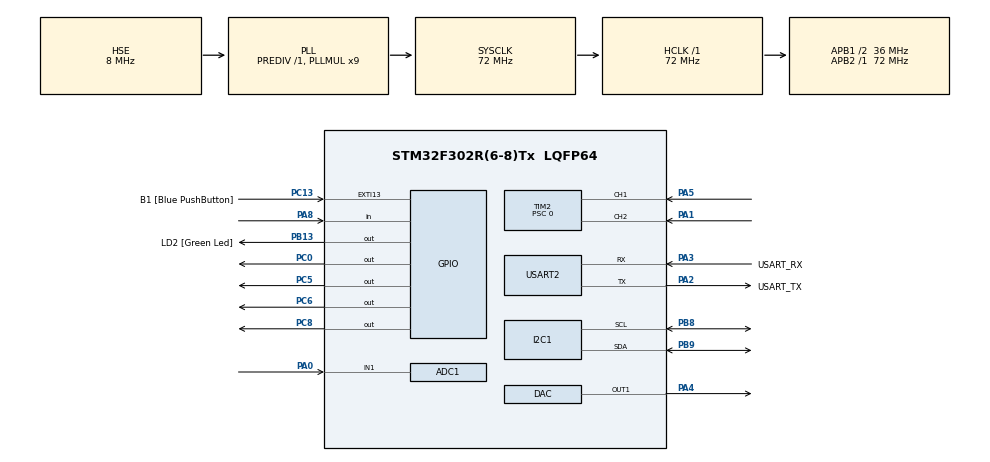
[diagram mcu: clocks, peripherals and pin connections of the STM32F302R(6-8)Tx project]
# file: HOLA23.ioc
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ADC1.Channel-0\#ChannelRegularConversion=ADC_CHANNEL_1
ADC1.ContinuousConvMode=ENABLE
ADC1.DMAContinuousRequests=ENABLE
ADC1.NbrOfConversionFlag=1
ADC1.Offset-0\#ChannelRegularConversion=0
ADC1.OffsetNumber-0\#ChannelRegularConversion=ADC_OFFSET_NONE
ADC1.Rank-0\#ChannelRegularConversion=1
ADC1.SamplingTime-0\#ChannelRegularConversion=ADC_SAMPLETIME_601CYCLES_5
ADC1.SamplingTimeOPAMP-0\#ChannelRegularConversion=ADC_SAMPLETIME_61CYCLES_5
ADC1.SubFamily=STM32F302x8
ADC1.master=1
DAC.DAC_Trigger=DAC_TRIGGER_T2_TRGO
Dma.ADC1.1.Direction=DMA_PERIPH_TO_MEMORY
Dma.ADC1.1.Instance=DMA1_Channel1
Dma.ADC1.1.MemDataAlignment=DMA_MDATAALIGN_WORD
Dma.ADC1.1.MemInc=DMA_MINC_ENABLE
Dma.ADC1.1.Mode=DMA_CIRCULAR
Dma.ADC1.1.PeriphDataAlignment=DMA_PDATAALIGN_WORD
Dma.ADC1.1.PeriphInc=DMA_PINC_DISABLE
Dma.ADC1.1.Priority=DMA_PRIORITY_LOW
Dma.DAC_CH1.0.Direction=DMA_MEMORY_TO_PERIPH
Dma.DAC_CH1.0.Instance=DMA1_Channel3
Dma.DAC_CH1.0.MemDataAlignment=DMA_MDATAALIGN_WORD
Dma.DAC_CH1.0.MemInc=DMA_MINC_ENABLE
Dma.DAC_CH1.0.Mode=DMA_CIRCULAR
Dma.DAC_CH1.0.PeriphDataAlignment=DMA_PDATAALIGN_WORD
Dma.DAC_CH1.0.PeriphInc=DMA_PINC_DISABLE
Dma.DAC_CH1.0.Priority=DMA_PRIORITY_LOW
Dma.Request0=DAC_CH1
Dma.Request1=ADC1
Mcu.Family=STM32F3
Mcu.Name=STM32F302R(6-8)Tx
Mcu.Package=LQFP64
NVIC.DMA1_Channel1_IRQn=true\:0\:0\:false\:false\:true\:false\:true\:true
NVIC.DMA1_Channel3_IRQn=true\:0\:0\:false\:false\:true\:false\:true\:true
NVIC.PriorityGroup=NVIC_PRIORITYGROUP_0
NVIC.TIM2_IRQn=true\:0\:0\:false\:false\:true\:true\:true\:true
PA0.Mode=IN1-Single-Ended
PA0.Signal=ADC1_IN1
PA1.Signal=S_TIM2_CH2
PA13.GPIO_Label=TMS
PA13.Mode=Serial_Wire
PA13.Signal=SYS_JTMS-SWDIO
PA14.GPIO_Label=TCK
PA14.Mode=Serial_Wire
PA14.Signal=SYS_JTCK-SWCLK
PA2.GPIO_Label=USART_TX
PA2.GPIO_Mode=GPIO_MODE_AF_PP
PA2.GPIO_PuPd=GPIO_NOPULL
PA2.GPIO_Speed=GPIO_SPEED_FREQ_LOW
PA2.Mode=Asynchronous
PA2.Signal=USART2_TX
PA3.GPIO_Label=USART_RX
PA3.GPIO_Mode=GPIO_MODE_AF_PP
PA3.GPIO_PuPd=GPIO_NOPULL
PA3.GPIO_Speed=GPIO_SPEED_FREQ_LOW
PA3.Mode=Asynchronous
PA3.Signal=USART2_RX
PA4.Signal=COMP_DAC1_group
PA5.Signal=S_TIM2_CH1_ETR
PA8.GPIO_PuPd=GPIO_PULLUP
PA8.Signal=GPIO_Input
PB13.GPIO_Label=LD2 [Green Led]
PB13.Signal=GPIO_Output
PB3.GPIO_Label=SWO
PB3.Mode=Trace_Asynchronous_SW
PB3.Signal=SYS_JTDO-TRACESWO
PB8.Mode=I2C
PB8.Signal=I2C1_SCL
PB9.Mode=I2C
PB9.Signal=I2C1_SDA
PC0.Signal=GPIO_Output
PC13.GPIO_Label=B1 [Blue PushButton]
PC13.GPIO_ModeDefaultEXTI=GPIO_MODE_IT_FALLING
PC13.Signal=GPXTI13
PC14\ -\ OSC32_IN.Signal=RCC_OSC32_IN
PC15\ -\ OSC32_OUT.Signal=RCC_OSC32_OUT
PC5.Signal=GPIO_Output
PC6.Signal=GPIO_Output
PC8.Signal=GPIO_Output
PF0-OSC_IN.Mode=HSE-External-Oscillator
PF0-OSC_IN.Signal=RCC_OSC_IN
PF1-OSC_OUT.Mode=HSE-External-Oscillator
PF1-OSC_OUT.Signal=RCC_OSC_OUT
ProjectManager.HeapSize=0x200
ProjectManager.StackSize=0x400
ProjectManager.TargetToolchain=STM32CubeIDE
RCC.AHBFreq_Value=72000000
RCC.APB1CLKDivider=RCC_HCLK_DIV2
RCC.APB1Freq_Value=36000000
RCC.APB1TimFreq_Value=72000000
RCC.APB2Freq_Value=72000000
RCC.APB2TimFreq_Value=72000000
RCC.CortexFreq_Value=72000000
RCC.HCLKFreq_Value=72000000
RCC.HSE_VALUE=8000000
RCC.HSI_VALUE=8000000
RCC.LSE_VALUE=32768
RCC.PLLM=8
RCC.PLLMUL=RCC_PLL_MUL9
RCC.PLLN=336
RCC.PLLP=RCC_PLLP_DIV4
RCC.PLLQ=7
RCC.PLLSourceVirtual=RCC_PLLSOURCE_HSE
RCC.SYSCLKFreq_VALUE=72000000
RCC.SYSCLKSourceVirtual=RCC_SYSCLKSOURCE_PLLCLK
RCC.USBFreq_Value=72000000
SH.COMP_DAC1_group.0=DAC_OUT1,DAC_OUT1
SH.S_TIM2_CH1_ETR.0=TIM2_CH1,Encoder_Interface
SH.S_TIM2_CH2.0=TIM2_CH2,Encoder_Interface
TIM2.AutoReloadPreload=TIM_AUTORELOAD_PRELOAD_ENABLE
TIM2.EncoderMode=TIM_ENCODERMODE_TI12
TIM2.IC1Filter=10
TIM2.IC1Polarity=TIM_ICPOLARITY_FALLING
TIM2.IC2Polarity=TIM_ICPOLARITY_FALLING
TIM2.Period=20000
TIM2.Prescaler=0
TIM2.TIM_MasterOutputTrigger=TIM_TRGO_RESET
USART2.VirtualMode-Asynchronous=VM_ASYNC
board=NUCLEO-F302R8

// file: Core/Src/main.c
/* USER CODE BEGIN Header */
/**
  ******************************************************************************
  * @file           : main.c
  * @brief          : Main program body
  ******************************************************************************
  * @attention
  *
  * Copyright (c) 2023 STMicroelectronics.
  * All rights reserved.
  *
  * This software is licensed under terms that can be found in the LICENSE file
  * in the root directory of this software component.
  * If no LICENSE file comes with this software, it is provided AS-IS.
  *
  ******************************************************************************
  */
/* USER CODE END Header */
#include "main.h"
#include "adc.h"
#include "dac.h"
#include "dma.h"
#include "i2c.h"
#include "tim.h"
#include "usart.h"
#include "gpio.h"
#include "max_matrix_stm32.h"
#include "i2c-lcd.h"
#include "math.h"

void SystemClock_Config(void);

/* USER CODE BEGIN 0 */
// Tamaño de la matriz LED
#define MATRIX_SIZE 8

#define PI 3.1415926

// Define el número de puntos en la onda
#define NUM_PUNTOS 1000

// Arreglo para almacenar los valores de la onda
uint32_t wave_val[NUM_PUNTOS];
/*
void c_wave_square_(double voltDiv, double dutyCycle) {
    int highPeriod = (int)(NUM_PUNTOS * dutyCycle);
    int lowPeriod = NUM_PUNTOS - highPeriod;

    for (int i = 0; i < NUM_PUNTOS; i++) {
        if (i < highPeriod) {
            // Calcular el valor para la parte alta de la onda
            wave_val[i] = (uint32_t)(voltDiv * (4096 / 2));
        } else {
            // Calcular el valor para la parte baja de la onda
            wave_val[i] = 0;
        }
    }
}
*/
void c_wave_square_(double voltDiv, double dutyCycle) {
    int highPeriod = (int)(NUM_PUNTOS * dutyCycle);
    int lowPeriod = NUM_PUNTOS - highPeriod;

    for (int i = 0; i < NUM_PUNTOS; i++) {
        if (i < highPeriod) {
            // Calcular el valor para la parte alta de la onda
            wave_val[i] = (uint32_t)(voltDiv * (4096 / 2));
        } else {
            // Calcular el valor para la parte baja de la onda
            wave_val[i] = 0;
        }
    }
}
// Llamar a la función c_wave_square_ con los valores deseados
double dutyCycle = 0.5;  // Por ejemplo, un ciclo de trabajo del 50%

void c_wave_triangle_(double voltDiv, double dutyCycle) {
    int halfPeriod = NUM_PUNTOS / 2;
    int dutyCyclePoints = halfPeriod * dutyCycle;

    for (int i = 0; i < NUM_PUNTOS; i++) {
        if (i < dutyCyclePoints) {
            // Calcular el valor para la primera mitad de la onda
            wave_val[i] = (uint32_t)((voltDiv * i / dutyCyclePoints) * (4096 / 2));
        } else {
            // Calcular el valor para la segunda mitad de la onda
            wave_val[i] = (uint32_t)((voltDiv * (NUM_PUNTOS - i) / (NUM_PUNTOS - dutyCyclePoints)) * (4096 / 2));
        }
    }
}
/* USER CODE END 0 */

int main(void) {

	/* MCU Configuration--------------------------------------------------------*/

	/* Reset of all peripherals, Initializes the Flash interface and the Systick. */
	HAL_Init();

	/* Configure the system clock */
	SystemClock_Config();

	/* Initialize all configured peripherals */
	MX_GPIO_Init();
	MX_DMA_Init();
	MX_USART2_UART_Init();
	MX_DAC_Init();
	MX_TIM2_Init();
	MX_ADC1_Init();
	MX_I2C1_Init();
	/* USER CODE BEGIN 2 */
	HAL_TIM_Base_Start(&htim2);
	//if(iSierra == 1)
		c_wave_triangle_(0, 1); // Inicializar la forma de onda sin desplazamiento (voltDiv = 0, timeDiv = 1)

	//if(iSenoidal == 1)
		c_wave_sine_(0,1);

	//if(iCuadrada == 1)
		//c_wave_square_(0,1);
		// Generar la forma de onda cuadrada
		 //   c_wave_square_(3.3, 0.5); // Ejemplo con voltaje de 3.3V y ciclo de trabajo del 50%

	max_init(0x03);
	lcd_init();
	//write_char(3, 1);
	//HAL_Delay(2000);
	HAL_DAC_Start_DMA(&hdac, DAC_CHANNEL_1, wave_val, 100, DAC_ALIGN_12B_R);
	//HAL_DAC_Start_DMA(&hdac1, &led_value, 1);
	/* USER CODE END 2 */
	uint8_t MSG[50] = { '\0' };

	HAL_TIM_Encoder_Start(&htim2, TIM_CHANNEL_ALL);

	int pushButtonPressed = 0;
	int touchCount = 0;
	int iStart1 = 0;

	int previousEncoderValueBackup = 0;
	int previous_iStart1 = 0;
	int encoderValue = 0;
	int previousEncoderValue = 0;

	//double voltDiv = 1.0;  // Valor inicial de Volt/Div
	double timeDiv = 1.0;  // Valor inicial de Volt/Div
	static int iSenoidal = 0;
	static int iCuadrada = 0;
	static int iSierra = 0;
	static int iLinea = 0;
	float voltDivValues[] = {0.41, 0.82, 1.23, 1.64, 2.05, 2.46, 2.87, 3.28, 3.3, 3.3};
	static int buttonPressCount = 0;
	/* Infinite loop */

	// Generar la forma de onda cuadrada
			    double voltDiv = 3.3; // Voltaje pico de la onda
			    double dutyCycle = 0.5; // Ciclo de trabajo del 50%
			    c_wave_square_(voltDiv, dutyCycle);

			    // Generar la onda cuadrada en el pin GPIOA8
			    while (1) {
			        for (int i = 0; i < NUM_PUNTOS; i++) {
			            if (wave_val[i] > 0) {
			                GPIOC->BSRR = GPIO_BSRR_BS_0; // Encender el pin GPIOA8
			            } else {
			                GPIOC->BSRR = GPIO_BSRR_BR_0; // Apagar el pin GPIOA8
			            }

			            // Retraso para ajustar la frecuencXonda
			            for (int delay = 0; delay < 1000; delay++) {
			                // Pequeño retraso
			            }
			        }

		// Mostrar la forma de onda en la matriz LED
		max_clear(); // Limpiar la matriz LED antes de mostrar la siguiente forma de onda

		// Iterar sobre cada columna de la matriz LED
		for (int col = 0; col < MATRIX_SIZE; col++) {
			// Mapear el valor de la forma de onda al rango de la matriz LED
			uint8_t led_value = wave_val[col] / (4096 / MATRIX_SIZE);

			// Encender el LED correspondiente en la columna actual
			setled(col, MATRIX_SIZE - 1 - led_value, 1);

			// Calcular el retraso basado en el valor de timeDiv
			uint32_t delay_ms = (uint32_t)(10 / timeDiv);

			// Retraso opcional para ajustar la velocidad de visualización
			HAL_Delay(delay_ms); // Ajusta el valor según sea necesario
		}

		// Retraso opcional para mantener los LEDs encendidos antes de apagarse progresivamente
		HAL_Delay(10); // Ajusta el valor según sea necesario

		// Apagar los LEDs progresivamente en sentido inverso
		for (int col = MATRIX_SIZE - 1; col >= 0; col--) {
			// Mapear el valor de la forma de onda al rango de la matriz LED
			uint8_t led_value = wave_val[col] / (4096 / MATRIX_SIZE);

			// Apagar el LED correspondiente en la columna actual
			setled(col, MATRIX_SIZE - 1 - led_value, 0);

			// Calcular el retraso basado en el valor de timeDiv
			uint32_t delay_ms = (uint32_t)(10 / timeDiv);

			// Retraso opcional para ajustar la velocidad de apagado
			HAL_Delay(delay_ms); // Ajusta el valor según sea necesario
		}

		 for (int i = 0; i < NUM_PUNTOS; i++) {
		            if (wave_val[i] > 0) {
		                // Encender el pin GPIOA8
		                HAL_GPIO_WritePin(GPIOC, GPIO_PIN_0, GPIO_PIN_SET);
		            } else {
		                // Apagar el pin GPIOA8
		                HAL_GPIO_WritePin(GPIOC, GPIO_PIN_0, GPIO_PIN_RESET);
		            }

		            // Retraso opcional para ajustar la velocidad de la onda
		            //HAL_Delay(50); // Ajusta el valor según sea necesario
		        }

		// Obtener el valor del encoder
		encoderValue = TIM2->CNT;
		if (iSenoidal == 1) {
			if (iStart1 == 0) {
					        // Verificar si el valor de iStart1 ha cambiado de 1 a 0
					        if (previous_iStart1 == 1 && iStart1 == 0) {
					            encoderValue = previousEncoderValueBackup;
					        }

					        // Limitar el valor del encoder a un máximo de 10
					        if (encoderValue > 10) {
					            encoderValue = 10;
					            TIM2->CNT = encoderValue;
					        }

					        // Verificar si el valor del encoder ha cambiado
					        if (encoderValue != previousEncoderValue) {
					            // Calcular el nuevo valor de voltDiv según el valor del encoder
					            voltDiv = encoderValue * 0.1;

					            // Limitar el rango de voltDiv entre 0.1 y 3.0
					            if (voltDiv < 0.1) {
					                voltDiv = 0.1;
					            } else if (voltDiv > 3.0) {
					                voltDiv = 3.0;
					            }

					            // Actualizar la forma de onda con el nuevo voltDiv
					            c_wave_sine_(voltDiv, timeDiv);

					            // Actualizar el valor del encoder previo
					            previousEncoderValue = encoderValue;
					        }
					    } else {
					        // Verificar si el valor de iStart1 ha cambiado de 0 a 1
					        if (previous_iStart1 == 0 && iStart1 == 1) {
					            previousEncoderValueBackup = previousEncoderValue;
					        }

					        // Limitar el valor del encoder a un máximo de 10
					        if (encoderValue > 20) {
					            encoderValue = 20;
					            TIM2->CNT = encoderValue;
					        }

					        // Verificar si el valor del encoder ha cambiado
					        if (encoderValue != previousEncoderValue) {
					            // Calcular el nuevo valor de timeDiv según el valor del encoder
					            timeDiv = encoderValue * 0.1;

					            // Limitar el rango de timeDiv entre 0.1 y 3.0
					            if (timeDiv < 0.1) {
					                timeDiv = 0.1;
					            } else if (timeDiv > 3.0) {
					                timeDiv = 3.0;
					            }

					            // Actualizar la forma de onda con el nuevo timeDiv
					            c_wave_sine_(voltDiv, timeDiv);

					            // Actualizar el valor del encoder previo
					            previousEncoderValue = encoderValue;
					        }
					    }
		}
		if (iCuadrada == 1) {
			if (iStart1 == 0) {
				// Verificar si el valor de iStart1 ha cambiado de 1 a 0
				if (previous_iStart1 == 1 && iStart1 == 0) {
					encoderValue = previousEncoderValueBackup;
				}

				// Limitar el valor del encoder a un máximo de 10
				if (encoderValue > 10) {
					encoderValue = 10;
					TIM2->CNT = encoderValue;
				}

				// Verificar si el valor del encoder ha cambiado
				if (encoderValue != previousEncoderValue) {
					// Calcular el nuevo valor de voltDiv según el valor del encoder
					double voltDiv = encoderValue * 0.1;

					// Limitar el rango de voltDiv entre 0.1 y 3.0
					if (voltDiv < 0.1) {
						voltDiv = 0.1;
					} else if (voltDiv > 3.0) {
						voltDiv = 3.0;
					}

					// Actualizar la forma de onda con el nuevo voltDiv
					c_wave_square_(voltDiv, dutyCycle);

					// Actualizar el valor del encoder previo
					previousEncoderValue = encoderValue;
				}
			} else {
				// Verificar si el valor de iStart1 ha cambiado de 0 a 1
				if (previous_iStart1 == 0 && iStart1 == 1) {
					previousEncoderValueBackup = previousEncoderValue;
				}

				// Limitar el valor del encoder a un máximo de 10
				if (encoderValue > 10) {
					encoderValue = 10;
					TIM2->CNT = encoderValue;
				}

				// Verificar si el valor del encoder ha cambiado
				if (encoderValue != previousEncoderValue) {
					// Calcular el nuevo valor de dutyCycle según el valor del encoder
					double dutyCycle = encoderValue / 10.0;

					// Limitar el rango de dutyCycle entre 0.1 y 0.9
					if (dutyCycle < 0.1) {
						dutyCycle = 0.1;
					} else if (dutyCycle > 0.9) {
						dutyCycle = 0.9;
					}

					// Actualizar la forma de onda con el nuevo dutyCycle
					c_wave_square_(voltDiv, dutyCycle);

					// Actualizar el valor del encoder previo
					previousEncoderValue = encoderValue;
				}
			}

		}
		if (iSierra = 1) {
			if (iStart1 == 0) {
				// Verificar si el valor de iStart1 ha cambiado de 1 a 0
				if (previous_iStart1 == 1 && iStart1 == 0) {
					encoderValue = previousEncoderValueBackup;
				}

				// Limitar el valor del encoder a un máximo de 10
				if (encoderValue > 16) {
					encoderValue = 16;
					TIM2->CNT = encoderValue;
				}

				// Verificar si el valor del encoder ha cambiado
				if (encoderValue != previousEncoderValue) {
					// Calcular el nuevo valor de voltDiv según el valor del encoder
					double voltDiv = encoderValue * 0.1;

					// Limitar el rango de voltDiv entre 0.1 y 3.0
					if (voltDiv < 0.1) {
						voltDiv = 0.1;
					} else if (voltDiv > 3.0) {
						voltDiv = 3.0;
					}

					// Actualizar la forma de onda con el nuevo voltDiv
					c_wave_triangle_(voltDiv, dutyCycle);

					// Actualizar el valor del encoder previo
					previousEncoderValue = encoderValue;
				}
			} else {
				// Verificar si el valor de iStart1 ha cambiado de 0 a 1
				if (previous_iStart1 == 0 && iStart1 == 1) {
					previousEncoderValueBackup = previousEncoderValue;
				}

				// Limitar el valor del encoder a un máximo de 10
				if (encoderValue > 20) {
					encoderValue = 20;
					TIM2->CNT = encoderValue;
				}

				// Verificar si el valor del encoder ha cambiado
				if (encoderValue != previousEncoderValue) {
					// Calcular el nuevo valor de dutyCycle según el valor del encoder
					double dutyCycle = encoderValue / 10.0;

					// Limitar el rango de dutyCycle entre 0.1 y 0.9
					if (dutyCycle < 0.1) {
						dutyCycle = 0.1;
					} else if (dutyCycle > 0.9) {
						dutyCycle = 0.9;
					}

					// Actualizar la forma de onda con el nuevo dutyCycle
					c_wave_triangle_(voltDiv, dutyCycle);

					// Actualizar el valor del encoder previo
					previousEncoderValue = encoderValue;
				}
			}

		}
		// Mostrar el valor del encoder en la I2C LCD
		sprintf(MSG, "Encoder: %d ", encoderValue);
		lcd_put_cur(0, 0);
		lcd_send_string(MSG);

		if (iStart1 == 0) {
			if (iSenoidal == 1 || iCuadrada == 1 || iLinea == 1 && iSierra == 0) {
				// Mostrar el valor de voltDiv en la LCD
				if (encoderValue == 1) {
					sprintf(MSG, "Volt/Div: 0.33 V  ");
				} else if (encoderValue == 2) {
					sprintf(MSG, "Volt/Div: 0.66 V  ");
				} else if (encoderValue == 3) {
					sprintf(MSG, "Volt/Div: 0.99 V  ");
				} else if (encoderValue == 4) {
					sprintf(MSG, "Volt/Div: 1.32 V  ");
				} else if (encoderValue == 5) {
					sprintf(MSG, "Volt/Div: 1.65 V  ");
				} else if (encoderValue == 6) {
					sprintf(MSG, "Volt/Div: 1.98 V  ");
				} else if (encoderValue == 7) {
					sprintf(MSG, "Volt/Div: 2.31 V  ");
				} else if (encoderValue == 8) {
					sprintf(MSG, "Volt/Div: 2.64 V  ");
				} else if (encoderValue == 9) {
					sprintf(MSG, "Volt/Div: 2.97 V  ");
				} else if (encoderValue == 10) {
					sprintf(MSG, "Volt/Div: 3.3 V  ");
				} else {
					sprintf(MSG, "Volt/Div: 0 V ");
				}
			}
			lcd_put_cur(1, 0);
			lcd_send_string(MSG);

			if (iSierra == 1 && iSenoidal == 0 && iCuadrada == 0 && iLinea == 0) {
				// Mostrar el valor de voltDiv en la LCD
				if (encoderValue == 1) {
					sprintf(MSG, "Volt/Div: 0.20 V  ");
				} else if (encoderValue == 2) {
					sprintf(MSG, "Volt/Div: 0.4 V  ");
				} else if (encoderValue == 3) {
					sprintf(MSG, "Volt/Div: 0.6 V  ");
				} else if (encoderValue == 4) {
					sprintf(MSG, "Volt/Div: 0.8 V  ");
				} else if (encoderValue == 5) {
					sprintf(MSG, "Volt/Div: 1 V  ");
				} else if (encoderValue == 6) {
					sprintf(MSG, "Volt/Div: 1.2 V  ");
				} else if (encoderValue == 7) {
					sprintf(MSG, "Volt/Div: 1.4 V  ");
				} else if (encoderValue == 8) {
					sprintf(MSG, "Volt/Div: 1.6 V  ");
				} else if (encoderValue == 9) {
					sprintf(MSG, "Volt/Div: 1.8 V  ");
				} else if (encoderValue == 10) {
					sprintf(MSG, "Volt/Div: 2 V  ");
				} else if (encoderValue == 11) {
					sprintf(MSG, "Volt/Div: 2.2 V  ");
				} else if (encoderValue == 12) {
					sprintf(MSG, "Volt/Div: 2.4 V  ");
				} else if (encoderValue == 13) {
					sprintf(MSG, "Volt/Div: 2.6 V  ");
				} else if (encoderValue == 14) {
					sprintf(MSG, "Volt/Div: 2.8 V  ");
				} else if (encoderValue == 15) {
					sprintf(MSG, "Volt/Div: 3 V  ");
				} else if (encoderValue == 16) {
					sprintf(MSG, "Volt/Div: 3.3 V  ");
				} else {
					sprintf(MSG, "Volt/Div: 0 V");
				}
			}

			lcd_put_cur(1, 0);
			lcd_send_string(MSG);
		}

		if (iStart1 == 1) {
			if (iSenoidal == 1 || iCuadrada == 1 || iLinea == 1 || iSierra == 1) {
				// Mostrar el valor de voltDiv en la LCD
				if (encoderValue == 1) {
					sprintf(MSG, "Time/Div: 0.1 ms  ");
				} else if (encoderValue == 2) {
					sprintf(MSG, "Time/Div: 0.2 ms  ");
				} else if (encoderValue == 3) {
					sprintf(MSG, "Time/Div: 0.3 ms  ");
				} else if (encoderValue == 4) {
					sprintf(MSG, "Time/Div: 0.4 ms  ");
				} else if (encoderValue == 5) {
					sprintf(MSG, "Time/Div: 0.5 ms  ");
				} else if (encoderValue == 6) {
					sprintf(MSG, "Time/Div: 0.6 ms  ");
				} else if (encoderValue == 7) {
					sprintf(MSG, "Time/Div: 0.7 ms  ");
				} else if (encoderValue == 8) {
					sprintf(MSG, "Time/Div: 0.8 ms  ");
				} else if (encoderValue == 9) {
					sprintf(MSG, "Time/Div: 0.9 ms  ");
				} else if (encoderValue == 10) {
					sprintf(MSG, "Time/Div: 1 ms  ");
				} else if (encoderValue == 11) {
					sprintf(MSG, "Time/Div: 1.1 ms  ");
				} else if (encoderValue == 12) {
					sprintf(MSG, "Time/Div: 1.2 ms  ");
				} else if (encoderValue == 13) {
					sprintf(MSG, "Time/Div: 1.3 ms  ");
				} else if (encoderValue == 14) {
					sprintf(MSG, "Time/Div: 1.4 ms  ");
				} else if (encoderValue == 15) {
					sprintf(MSG, "Time/Div: 1.5 ms  ");
				} else if (encoderValue == 16) {
					sprintf(MSG, "Time/Div: 1.6 ms  ");
				} else if (encoderValue == 17) {
					sprintf(MSG, "Time/Div: 1.7 ms  ");
				} else if (encoderValue == 18) {
					sprintf(MSG, "Time/Div: 1.8 ms  ");
				} else if (encoderValue == 19) {
					sprintf(MSG, "Time/Div: 1.9 ms  ");
				} else if (encoderValue == 20) {
					sprintf(MSG, "Time/Div: 2 ms  ");
				} else {
					sprintf(MSG, "Time/Div: 0 ms");
				}
			}
			lcd_put_cur(1, 0);
					lcd_send_string(MSG);

				}
		if (HAL_GPIO_ReadPin(GPIOA, GPIO_PIN_8) == GPIO_PIN_RESET
				&& pushButtonPressed == 0) {
			pushButtonPressed = 1;

			// Incrementar el contador de toques del botón
			touchCount++;
			if (touchCount == 1) {
				lcd_clear();
				lcd_put_cur(0, 14);
				lcd_send_string("1"); // Mostrar "1" en la posición (1,4) de la LCD
				iStart1 = 0;
			} else if (touchCount == 2) {
				lcd_clear();
				lcd_put_cur(0, 14);
				lcd_send_string("2"); // Mostrar "2" en la posición (1,4) de la LCD
				touchCount = 0;  // Reiniciar touchCount a 0
				iStart1 = 1;
			}
		} else if (HAL_GPIO_ReadPin(GPIOA, GPIO_PIN_8) == GPIO_PIN_SET) {
			pushButtonPressed = 0;
		}

		if (HAL_GPIO_ReadPin(GPIOC, GPIO_PIN_13) == GPIO_PIN_RESET) {
		    // El botón está presionado

		    // Incrementar el contador de pulsaciones
		    buttonPressCount++;

			// Cambiar el estado de acuerdo al número de pulsaciones
			if (buttonPressCount == 1) {
				max_clear();
				iSenoidal = 1;
				iCuadrada = 0;
				iSierra = 0;
				iLinea = 0;
				lcd_put_cur(0, 15);
				lcd_send_string("S"); // Mostrar S

			} else if (buttonPressCount == 2) {
				max_clear();
				iSenoidal = 0;
				iCuadrada = 1;
				iSierra = 0;
				iLinea = 0;
				lcd_put_cur(0, 15);
				lcd_send_string("C"); // Mostrar C
			} else if (buttonPressCount == 3) {
				max_clear();
				iSenoidal = 0;
				iCuadrada = 0;
				iSierra = 1;
				iLinea = 0;
				lcd_put_cur(0, 15);
				lcd_send_string("D"); // Mostrar D
			} else if (buttonPressCount == 4) {
				max_clear();
				iSenoidal = 0;
				iCuadrada = 0;
				iSierra = 0;
				iLinea = 1;
				lcd_put_cur(0, 15);
				lcd_send_string("L"); // Mostrar L
			} else if (buttonPressCount == 5) {
				// Reiniciar el contador de pulsaciones y volver al estado inicial
				buttonPressCount = 1;
				iSenoidal = 1;
				iCuadrada = 0;
				iSierra = 0;
				iLinea = 0;
			}
		}

		previousEncoderValue = encoderValue;
		previous_iStart1 = iStart1;
		HAL_Delay(100);
	}

}

void c_wave_sine_(double voltDiv, double timeDiv) {
	for (int i = 0; i < NUM_PUNTOS; i++) {
		// Calcular el desplazamiento de tiempo basado en el valor del encoder
		double timeShift = (double) i * (2 * PI / (NUM_PUNTOS * timeDiv));

		// Calcular el valor de la onda senoidal en el punto actual
		double value = (sin(timeShift) * voltDiv + voltDiv) * (4096 / 2);

		// Almacenar el valor de la onda en el arreglo
		wave_val[i] = (uint32_t) value;
	}
}
void SystemClock_Config(void)
{
  RCC_OscInitTypeDef RCC_OscInitStruct = {0};
  RCC_ClkInitTypeDef RCC_ClkInitStruct = {0};
  RCC_PeriphCLKInitTypeDef PeriphClkInit = {0};

  /** Initializes the RCC Oscillators according to the specified parameters
  * in the RCC_OscInitTypeDef structure.
  */
  RCC_OscInitStruct.OscillatorType = RCC_OSCILLATORTYPE_HSI|RCC_OSCILLATORTYPE_HSE;
  RCC_OscInitStruct.HSEState = RCC_HSE_ON;
  RCC_OscInitStruct.HSEPredivValue = RCC_HSE_PREDIV_DIV1;
  RCC_OscInitStruct.HSIState = RCC_HSI_ON;
  RCC_OscInitStruct.HSICalibrationValue = RCC_HSICALIBRATION_DEFAULT;
  RCC_OscInitStruct.PLL.PLLState = RCC_PLL_ON;
  RCC_OscInitStruct.PLL.PLLSource = RCC_PLLSOURCE_HSE;
  RCC_OscInitStruct.PLL.PLLMUL = RCC_PLL_MUL9;
  if (HAL_RCC_OscConfig(&RCC_OscInitStruct) != HAL_OK)
  {
    Error_Handler();
  }

  /** Initializes the CPU, AHB and APB buses clocks
  */
  RCC_ClkInitStruct.ClockType = RCC_CLOCKTYPE_HCLK|RCC_CLOCKTYPE_SYSCLK
                              |RCC_CLOCKTYPE_PCLK1|RCC_CLOCKTYPE_PCLK2;
  RCC_ClkInitStruct.SYSCLKSource = RCC_SYSCLKSOURCE_PLLCLK;
  RCC_ClkInitStruct.AHBCLKDivider = RCC_SYSCLK_DIV1;
  RCC_ClkInitStruct.APB1CLKDivider = RCC_HCLK_DIV2;
  RCC_ClkInitStruct.APB2CLKDivider = RCC_HCLK_DIV1;

  if (HAL_RCC_ClockConfig(&RCC_ClkInitStruct, FLASH_LATENCY_2) != HAL_OK)
  {
    Error_Handler();
  }
  PeriphClkInit.PeriphClockSelection = RCC_PERIPHCLK_I2C1|RCC_PERIPHCLK_ADC1;
  PeriphClkInit.I2c1ClockSelection = RCC_I2C1CLKSOURCE_HSI;
  PeriphClkInit.Adc1ClockSelection = RCC_ADC1PLLCLK_DIV1;

  if (HAL_RCCEx_PeriphCLKConfig(&PeriphClkInit) != HAL_OK)
  {
    Error_Handler();
  }
}

void Error_Handler(void)
{
	__disable_irq();
  while (1)
  {
  }
}
